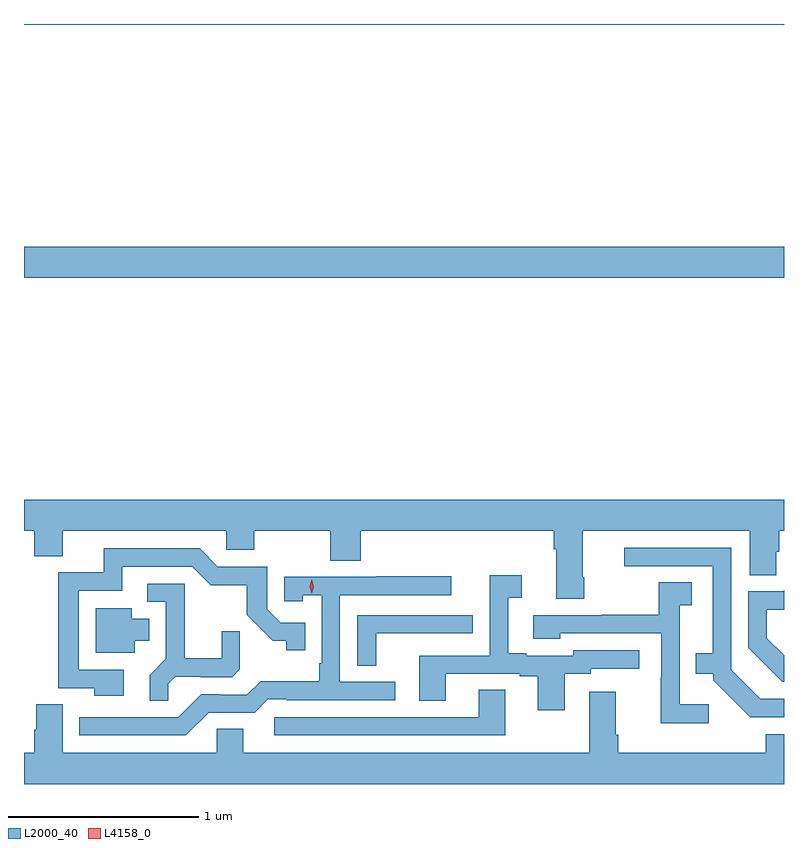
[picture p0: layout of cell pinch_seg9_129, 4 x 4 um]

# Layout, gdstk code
import gdstk
lib = gdstk.Library(unit=1e-6, precision=1e-09)
def R(c, l, rs):  # rectangles x0, y0, x1, y1
    for r in rs: c.add(gdstk.rectangle(r[:2], r[2:], *l))
def P(c, l, *ps):  # polygons
    for p in ps: c.add(gdstk.Polygon(p, *l))
L2000_40 = (2000, 40)
L4158_0 = (4158, 0)

pinch_seg9_129 = lib.new_cell('pinch_seg9_129')
R(pinch_seg9_129, L2000_40, [(791.868,1244.372,795.868,1244.536), (791.868,1245.704,795.868,1245.708)])
P(pinch_seg9_129, L2000_40, [(794.817,1242.796),(794.809,1242.796),(794.809,1243.04),(795.689,1243.04),(795.689,1242.808),(795.827,1242.808),(795.827,1242.93),(795.842,1242.93),(795.842,1243.04),(795.868,1243.04),(795.868,1243.204),(791.868,1243.204),(791.868,1243.04),(791.921,1243.04),(791.921,1242.907),(792.073,1242.907),(792.073,1243.04),(792.933,1243.04),(792.933,1242.942),(793.08,1242.942),(793.08,1243.04),(793.48,1243.04),(793.48,1242.883),(793.64,1242.883),(793.64,1243.04),(794.657,1243.04),(794.657,1242.944),(794.669,1242.944),(794.669,1242.684),(794.817,1242.684)],
  [(795.868,1242.156),(795.744,1242.156),(795.591,1242.309),(795.591,1242.951),(795.027,1242.951),(795.027,1242.855),(795.494,1242.855),(795.494,1242.397),(795.403,1242.397),(795.403,1242.287),(795.495,1242.287),(795.495,1242.255),(795.69,1242.06),(795.868,1242.06)],
  [(792.394,1242.309),(792.156,1242.309),(792.156,1242.726),(792.385,1242.726),(792.385,1242.852),(792.753,1242.852),(792.852,1242.754),(793.041,1242.754),(793.041,1242.598),(793.178,1242.461),(793.248,1242.461),(793.248,1242.411),(793.349,1242.411),(793.349,1242.558),(793.218,1242.558),(793.149,1242.627),(793.149,1242.852),(792.888,1242.852),(792.792,1242.948),(792.287,1242.948),(792.287,1242.822),(792.048,1242.822),(792.048,1242.213),(792.238,1242.213),(792.238,1242.173),(792.394,1242.173)],
  [(794.713,1242.288),(794.85,1242.288),(794.85,1242.315),(795.106,1242.315),(795.106,1242.411),(794.76,1242.411),(794.76,1242.384),(794.512,1242.384),(794.512,1242.397),(794.416,1242.397),(794.416,1242.688),(794.488,1242.688),(794.488,1242.808),(794.319,1242.808),(794.319,1242.384),(793.949,1242.384),(793.949,1242.145),(794.089,1242.145),(794.089,1242.288),(794.477,1242.288),(794.477,1242.276),(794.573,1242.276),(794.573,1242.096),(794.713,1242.096)],
  [(792.84,1242.084),(793.083,1242.084),(793.152,1242.153),(793.252,1242.153),(793.252,1242.15),(793.822,1242.15),(793.822,1242.246),(793.53,1242.246),(793.53,1242.702),(794.116,1242.702),(794.116,1242.801),(793.723,1242.801),(793.723,1242.798),(793.239,1242.798),(793.239,1242.669),(793.335,1242.669),(793.335,1242.701),(793.434,1242.701),(793.434,1242.343),(793.422,1242.343),(793.422,1242.25),(793.114,1242.25),(793.041,1242.177),(792.902,1242.177),(792.902,1242.18),(792.801,1242.18),(792.681,1242.06),(792.158,1242.06),(792.158,1241.964),(792.72,1241.964)],
  [(795.472,1242.127),(795.318,1242.127),(795.318,1242.649),(795.382,1242.649),(795.382,1242.77),(795.21,1242.77),(795.21,1242.6),(794.905,1242.6),(794.905,1242.597),(794.547,1242.597),(794.547,1242.473),(794.691,1242.473),(794.691,1242.501),(795.222,1242.501),(795.222,1242.269),(795.22,1242.269),(795.22,1242.029),(795.472,1242.029)],
  [(792.627,1242.236),(792.664,1242.273),(792.798,1242.273),(792.798,1242.27),(792.963,1242.27),(793.004,1242.311),(793.004,1242.513),(792.91,1242.513),(792.91,1242.37),(792.713,1242.37),(792.713,1242.762),(792.516,1242.762),(792.516,1242.666),(792.615,1242.666),(792.615,1242.367),(792.529,1242.281),(792.529,1242.145),(792.627,1242.145)],
  [(795.868,1242.386),(795.778,1242.476),(795.778,1242.626),(795.868,1242.626),(795.868,1242.727),(795.864,1242.723),(795.681,1242.723),(795.681,1242.425),(795.86,1242.246),(795.868,1242.246)],
  [(792.451,1242.461),(792.526,1242.461),(792.526,1242.577),(792.436,1242.577),(792.436,1242.634),(792.245,1242.634),(792.245,1242.398),(792.451,1242.398)],
  [(793.722,1242.501),(794.117,1242.501),(794.117,1242.502),(794.23,1242.502),(794.23,1242.597),(793.623,1242.597),(793.623,1242.331),(793.722,1242.331)],
  [(794.401,1242.203),(794.261,1242.203),(794.261,1242.06),(793.185,1242.06),(793.185,1241.964),(794.401,1241.964)],
  [(793.021,1241.999),(792.882,1241.999),(792.882,1241.872),(792.073,1241.872),(792.073,1242.128),(791.933,1242.128),(791.933,1241.994),(791.921,1241.994),(791.921,1241.872),(791.868,1241.872),(791.868,1241.708),(795.868,1241.708),(795.868,1241.971),(795.773,1241.971),(795.773,1241.872),(794.996,1241.872),(794.996,1241.968),(794.983,1241.968),(794.983,1242.193),(794.843,1242.193),(794.843,1241.872),(793.021,1241.872)])
P(pinch_seg9_129, L4158_0, [(793.382,1242.711),(793.382,1242.711),(793.372,1242.747),(793.382,1242.783),(793.382,1242.783),(793.382,1242.783),(793.392,1242.747),(793.382,1242.711)])

lib.write_gds('pinch_seg9_129.gds')
